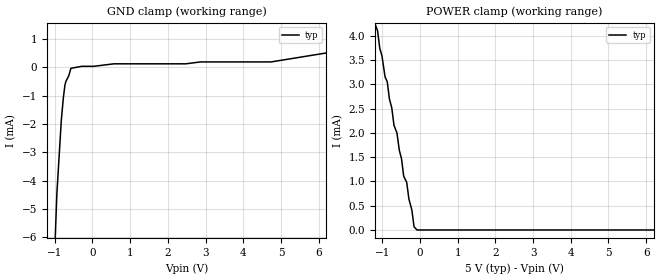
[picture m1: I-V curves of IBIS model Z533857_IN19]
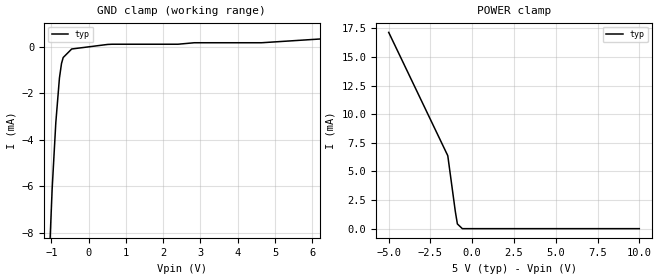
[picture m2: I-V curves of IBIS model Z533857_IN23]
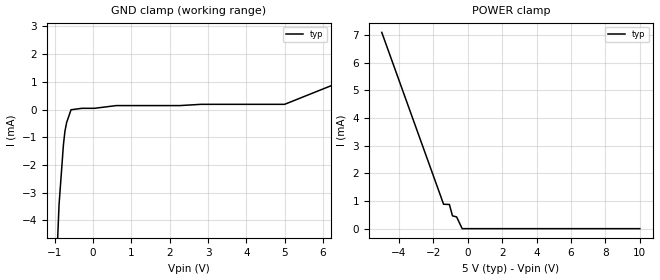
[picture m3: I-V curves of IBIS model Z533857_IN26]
| YOU ARE ONLY AUTHORIZED TO USE THIS SOFTWARE
| ACCORDING TO LICENSOR'S LICENSE RESTRICTIONS.
[IBIS Ver] 3.1
[File Name] mc100e457fn_pecl.ibs
[File Rev] 2.0
[Source] Measured and created by ICX Technology
[Date] Friday 7/14/00 9:07:47 AM
[Copyright]
| (C) COPYRIGHT 1993-2000
| MENTOR GRAPHICS CORPORATION
| ICX STANDARD LIBRARY, ICX PROJECT MODELING,
| ICX CUSTOM MODELING, ICX VENDOR MODEL
| ALL RIGHTS RESERVED.
| THE FOLLOWING ARE TRADEMARKS OR SERVICE MARKS OF
| MENTOR GRAPHICS CORPORATION:ICX (R), ICX STANDARD
| LIBRARY(R), ICX PROJECT MODELING(R), ICX CUSTOM
| MODELING(R), qualityIBIS(TM), MODELVIEWER(TM),
| AND MODELEDITOR(TM)
| ALL COPIES OF SOFTWARE, INCLUDING BUT NOT LIMITED TO
| ANY MODIFICATIONS, ENHANCEMENTS OR DERIVATIVE WORKS,
| MUST CONTAIN ALL MENTOR GRAPHICS CORPORATION'S
| NOTICES AND LEGENDS, INCLUDING THOSE EMBEDDED IN
| SOFTWARE AND THOSE AFFIXED TO SOFTWARE MEDIUM
| AND CONTAINER, AS RECEIVED FROM MENTOR GRAPHICS
| CORPORATION.
|  ZAP Model Builder 2.7
[Component] MC100E457FN_PECL
[Manufacturer] OnSemiconductor
[Package]
| variable   typ   min   max
R_pkg  .083ohms NA NA
L_pkg  4.299nH NA NA
C_pkg  1.045pF NA NA
[Pin] signal_name  model_name  R_pin  L_pin C_pin
1 VEE GND .08 3.94n .925p
2 VBB POWER .082 4.14n .995p
3 _D1B Z533857_IN23 .084 4.354n 1.065p
4 D1B Z533857_IN23 .086 4.583n 1.135p
5 SEL0 Z533857_IN26 .086 4.583n 1.135p
6 D0A Z533857_IN23 .084 4.354n 1.065p
7 _D0A Z533857_IN23 .082 4.14n .995p
8 VBB POWER .08 3.94n .925p
9 _D0B Z533857_IN23 .082 4.14n .995p
10 D0B Z533857_IN23 .084 4.354n 1.065p
11 VCCO POWER .086 4.583n 1.135p
12 _Q0 Z533857_OUT15 .086 4.583n 1.135p
13 Q0 Z533857_OUT15 .084 4.354n 1.065p
14 Q1 Z533857_OUT15 .082 4.14n .995p
15 _Q1 Z533857_OUT15 .08 3.94n .925p
16 VCC POWER .082 4.14n .995p
17 Q2 Z533857_OUT15 .084 4.354n 1.065p
18 _Q2 Z533857_OUT15 .086 4.583n 1.135p
19 CS Z533857_IN19 .086 4.583n 1.135p
20 D2B Z533857_IN23 .084 4.354n 1.065p
21 _D2B Z533857_IN23 .082 4.14n .995p
22 VBB POWER .08 3.94n .925p
23 _D2A Z533857_IN23 .082 4.14n .995p
24 D2A Z533857_IN23 .084 4.354n 1.065p
25 SEL2 Z533857_IN26 .086 4.583n 1.135p
26 SEL1 Z533857_IN26 .086 4.583n 1.135p
27 D1A Z533857_IN23 .084 4.354n 1.065p
28 _D1A Z533857_IN23 .082 4.14n .995p
| Models and submodels in the file (4): Z533857_IN19 (Input_ECL), Z533857_IN23 (Input_ECL), Z533857_IN26 (Input_ECL), Z533857_OUT15 (Output_ECL)
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| (C) COPYRIGHT 1993-2000
| MENTOR GRAPHICS CORPORATION
| ICX STANDARD LIBRARY, ICX PROJECT MODELING,
| ICX CUSTOM MODELING, ICX VENDOR MODEL
| ALL RIGHTS RESERVED.
| THE FOLLOWING ARE TRADEMARKS OR SERVICE MARKS OF
| MENTOR GRAPHICS CORPORATION:ICX (R), ICX STANDARD
| LIBRARY(R), ICX PROJECT MODELING(R), ICX CUSTOM
| MODELING(R), qualityIBIS(TM), MODELVIEWER(TM),
| AND MODELEDITOR(TM)
| ALL COPIES OF SOFTWARE, INCLUDING BUT NOT LIMITED TO
| ANY MODIFICATIONS, ENHANCEMENTS OR DERIVATIVE WORKS,
| MUST CONTAIN ALL MENTOR GRAPHICS CORPORATION'S
| NOTICES AND LEGENDS, INCLUDING THOSE EMBEDDED IN
| SOFTWARE AND THOSE AFFIXED TO SOFTWARE MEDIUM
| AND CONTAINER, AS RECEIVED FROM MENTOR GRAPHICS
| CORPORATION.
| Model Application Version 1.89 2/18/99.
[Model] Z533857_IN19
Model_type Input_ECL
Vinl = 3.520V
Vinh = 3.830V
C_comp 4.000pF NA NA
| variable typ   min   max
[Voltage Range] 5.000V NA NA
[GND Clamp Reference] 0.000V NA NA
[POWER Clamp Reference] 5.000V NA NA
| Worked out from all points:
|   GND clamp passes 1 mA (typ) near -0.76 V on its own axis
|   POWER clamp passes 1 mA (typ) near -0.36 V on its own axis
[GND Clamp]
-5V       -271.5mA   NA         NA
-1.137V   -11.49mA   NA         NA
-943.5mV  -4.454mA   NA         NA
-825.3mV  -1.859mA   NA         NA
-769.8mV  -1.053mA   NA         NA
-730.8mV  -633.9uA   NA         NA
-703.7mV  -498.4uA   NA         NA
-626.1mV  -291uA     NA         NA
-571.1mV  -34.87uA   NA         NA
570.5mV   124.3uA    NA         NA
4.737V    191uA      NA         NA
10V       1.329mA    NA         NA
[POWER Clamp]
-5V       38.18mA    NA         NA
-1.123V   4.104mA    NA         NA
-1.065V   3.744mA    NA         NA
-925mV    3.155mA    NA         NA
-868mV    3.06mA     NA         NA
-688mV    2.156mA    NA         NA
-610mV    2.001mA    NA         NA
-431mV    1.108mA    NA         NA
-351mV    981.2uA    NA         NA
-156mV    63.99uA    NA         NA
-78mV     0A         NA         NA
10V       0A         NA         NA
| (C) COPYRIGHT 1993-2000
| MENTOR GRAPHICS CORPORATION
| ICX STANDARD LIBRARY, ICX PROJECT MODELING,
| ICX CUSTOM MODELING, ICX VENDOR MODEL
| ALL RIGHTS RESERVED.
| THE FOLLOWING ARE TRADEMARKS OR SERVICE MARKS OF
| MENTOR GRAPHICS CORPORATION:ICX (R), ICX STANDARD
| LIBRARY(R), ICX PROJECT MODELING(R), ICX CUSTOM
| MODELING(R), qualityIBIS(TM), MODELVIEWER(TM),
| AND MODELEDITOR(TM)
| ALL COPIES OF SOFTWARE, INCLUDING BUT NOT LIMITED TO
| ANY MODIFICATIONS, ENHANCEMENTS OR DERIVATIVE WORKS,
| MUST CONTAIN ALL MENTOR GRAPHICS CORPORATION'S
| NOTICES AND LEGENDS, INCLUDING THOSE EMBEDDED IN
| SOFTWARE AND THOSE AFFIXED TO SOFTWARE MEDIUM
| AND CONTAINER, AS RECEIVED FROM MENTOR GRAPHICS
| CORPORATION.
| Model Application Version 1.89 2/18/99.
[Model] Z533857_IN23
Model_type Input_ECL
Vinl = 3.520V
Vinh = 3.830V
C_comp 4.000pF NA NA
| variable typ   min   max
[Voltage Range] 5.000V NA NA
[GND Clamp Reference] 0.000V NA NA
[POWER Clamp Reference] 5.000V NA NA
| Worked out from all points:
|   GND clamp passes 1 mA (typ) near -0.76 V on its own axis
|   POWER clamp passes 1 mA (typ) near -0.96 V on its own axis
[GND Clamp]
-5V       -282.4mA   NA         NA
-1.094V   -10.51mA   NA         NA
-981.4mV  -6.107mA   NA         NA
-883.6mV  -3.259mA   NA         NA
-786.1mV  -1.331mA   NA         NA
-730.4mV  -702.8uA   NA         NA
-685.5mV  -448.5uA   NA         NA
-457mV    -80.29uA   NA         NA
627.5mV   125uA      NA         NA
2.838V    189.1uA    NA         NA
4.642V    189.1uA    NA         NA
10V       741.5uA    NA         NA
[POWER Clamp]
-5V       17.14mA    NA         NA
-1.464V   6.371mA    NA         NA
-1.011V   1.482mA    NA         NA
-889mV    412.7uA    NA         NA
-592.7mV  0A         NA         NA
10V       0A         NA         NA
| (C) COPYRIGHT 1993-2000
| MENTOR GRAPHICS CORPORATION
| ICX STANDARD LIBRARY, ICX PROJECT MODELING,
| ICX CUSTOM MODELING, ICX VENDOR MODEL
| ALL RIGHTS RESERVED.
| THE FOLLOWING ARE TRADEMARKS OR SERVICE MARKS OF
| MENTOR GRAPHICS CORPORATION:ICX (R), ICX STANDARD
| LIBRARY(R), ICX PROJECT MODELING(R), ICX CUSTOM
| MODELING(R), qualityIBIS(TM), MODELVIEWER(TM),
| AND MODELEDITOR(TM)
| ALL COPIES OF SOFTWARE, INCLUDING BUT NOT LIMITED TO
| ANY MODIFICATIONS, ENHANCEMENTS OR DERIVATIVE WORKS,
| MUST CONTAIN ALL MENTOR GRAPHICS CORPORATION'S
| NOTICES AND LEGENDS, INCLUDING THOSE EMBEDDED IN
| SOFTWARE AND THOSE AFFIXED TO SOFTWARE MEDIUM
| AND CONTAINER, AS RECEIVED FROM MENTOR GRAPHICS
| CORPORATION.
| Model Application Version 1.89 2/18/99.
[Model] Z533857_IN26
Model_type Input_ECL
Vinl = 3.520V
Vinh = 3.830V
C_comp 4.000pF NA NA
| variable typ   min   max
[Voltage Range] 5.000V NA NA
[GND Clamp Reference] 0.000V NA NA
[POWER Clamp Reference] 5.000V NA NA
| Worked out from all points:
|   GND clamp passes 1 mA (typ) near -0.75 V on its own axis
[GND Clamp]
-5V       -357.6mA   NA         NA
-1.001V   -7.405mA   NA         NA
-883.6mV  -3.438mA   NA         NA
-769.5mV  -1.278mA   NA         NA
-730.8mV  -792.3uA   NA         NA
-685.3mV  -467uA     NA         NA
-570.5mV  -7.79uA    NA         NA
-285.3mV  44.32uA    NA         NA
38.85mV   44.32uA    NA         NA
609.7mV   142.5uA    NA         NA
4.998V    187.9uA    NA         NA
10V       2.956mA    NA         NA
[POWER Clamp]
-5V       7.102mA    NA         NA
-1.406V   882.9uA    NA         NA
-1.069V   875.4uA    NA         NA
-889mV    463uA      NA         NA
-650mV    425.6uA    NA         NA
-325mV    0A         NA         NA
10V       0A         NA         NA
